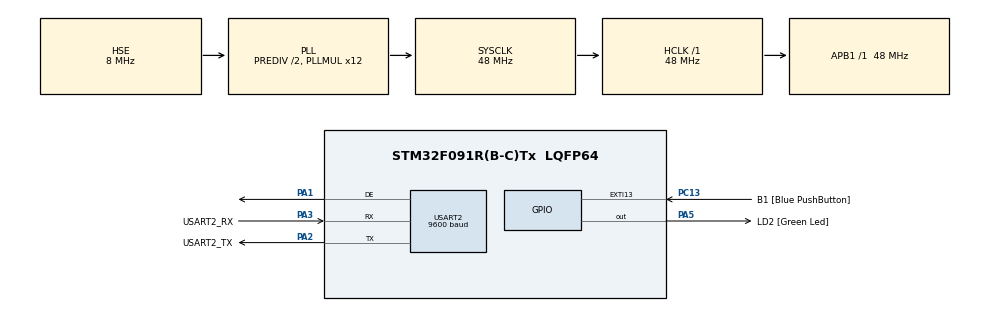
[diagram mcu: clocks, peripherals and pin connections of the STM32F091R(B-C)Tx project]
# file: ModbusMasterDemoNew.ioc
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Dma.Request0=USART2_TX
Dma.USART2_TX.0.Direction=DMA_MEMORY_TO_PERIPH
Dma.USART2_TX.0.Instance=DMA1_Channel4
Dma.USART2_TX.0.MemDataAlignment=DMA_MDATAALIGN_BYTE
Dma.USART2_TX.0.MemInc=DMA_MINC_ENABLE
Dma.USART2_TX.0.Mode=DMA_NORMAL
Dma.USART2_TX.0.PeriphDataAlignment=DMA_PDATAALIGN_BYTE
Dma.USART2_TX.0.PeriphInc=DMA_PINC_DISABLE
Dma.USART2_TX.0.Priority=DMA_PRIORITY_LOW
FREERTOS.INCLUDE_vTaskDelayUntil=1
FREERTOS.Tasks01=defaultTask,0,128,StartDefaultTask,Default
FREERTOS.configTOTAL_HEAP_SIZE=10340
Mcu.Family=STM32F0
Mcu.Name=STM32F091R(B-C)Tx
Mcu.Package=LQFP64
NVIC.DMA1_Ch4_7_DMA2_Ch3_5_IRQn=true\:3\:0\:false\:false\:true\:true
NVIC.TIM6_DAC_IRQn=true\:3\:0\:false\:false\:true\:true
NVIC.USART2_IRQn=true\:3\:0\:false\:false\:true\:true
PA1.Mode=Hardware Flow Control (RS485)
PA1.Signal=USART2_DE
PA13.GPIO_Label=TMS
PA13.Mode=Serial_Wire
PA13.Signal=SYS_SWDIO
PA14.GPIO_Label=TCK
PA14.Mode=Serial_Wire
PA14.Signal=SYS_SWCLK
PA2.GPIO_Label=USART2_TX
PA2.GPIO_Mode=GPIO_MODE_AF_PP
PA2.GPIO_PuPd=GPIO_NOPULL
PA2.GPIO_Speed=GPIO_SPEED_FREQ_LOW
PA2.Mode=Asynchronous
PA2.Signal=USART2_TX
PA3.GPIO_Label=USART2_RX
PA3.GPIO_Mode=GPIO_MODE_AF_PP
PA3.GPIO_PuPd=GPIO_NOPULL
PA3.GPIO_Speed=GPIO_SPEED_FREQ_LOW
PA3.Mode=Asynchronous
PA3.Signal=USART2_RX
PA5.GPIO_Label=LD2 [Green Led]
PA5.GPIO_Mode=GPIO_MODE_OUTPUT_PP
PA5.GPIO_PuPd=GPIO_NOPULL
PA5.GPIO_Speed=GPIO_SPEED_FREQ_LOW
PA5.Signal=GPIO_Output
PC13.GPIO_Label=B1 [Blue PushButton]
PC13.GPIO_ModeDefaultEXTI=GPIO_MODE_EVT_RISING
PC13.Signal=GPXTI13
PC14OSC32_IN.Signal=RCC_OSC32_IN
PC15OSC32_OUT.Signal=RCC_OSC32_OUT
PF0-OSC_IN.Mode=HSE-External-Oscillator
PF0-OSC_IN.Signal=RCC_OSC_IN
PF1-OSC_OUT.Mode=HSE-External-Oscillator
PF1-OSC_OUT.Signal=RCC_OSC_OUT
ProjectManager.HeapSize=0x200
ProjectManager.StackSize=0x400
ProjectManager.TargetToolchain=SW4STM32
RCC.AHBFreq_Value=48000000
RCC.APB1Freq_Value=48000000
RCC.APB1TimFreq_Value=48000000
RCC.FLatency-AdvancedSettings=FLASH_LATENCY_1
RCC.HCLKFreq_Value=48000000
RCC.HSIState=RCC_HSI_ON
RCC.PLLDivider=RCC_PREDIV_DIV2
RCC.PLLMUL=RCC_PLL_MUL12
RCC.PLLSourceVirtual=RCC_PLLSOURCE_HSE
RCC.PREFETCH_ENABLE-AdvancedSettings=1
RCC.SYSCLKFreq_VALUE=48000000
RCC.SYSCLKSource=RCC_SYSCLKSOURCE_PLLCLK
USART2.BaudRate=9600
USART2.Parity=PARITY_NONE
USART2.WordLength=UART_WORDLENGTH_8B
VP_FREERTOS_VS_ENABLE.Mode=Enabled
VP_RTC_VS_RTC_Activate.Mode=RTC_Enabled
VP_TIM6_VS_ClockSourceINT.Mode=Enable_Timer
board=NUCLEO-F091RC

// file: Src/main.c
/**
  ******************************************************************************
  * File Name          : main.c
  * Description        : Main program body
  ******************************************************************************
  *
  * Copyright (c) 2017 STMicroelectronics International N.V.
  * All rights reserved.
  *
  * Redistribution and use in source and binary forms, with or without
  * modification, are permitted, provided that the following conditions are met:
  *
  * 1. Redistribution of source code must retain the above copyright notice,
  *    this list of conditions and the following disclaimer.
  * 2. Redistributions in binary form must reproduce the above copyright notice,
  *    this list of conditions and the following disclaimer in the documentation
  *    and/or other materials provided with the distribution.
  * 3. Neither the name of STMicroelectronics nor the names of other
  *    contributors to this software may be used to endorse or promote products
  *    derived from this software without specific written permission.
  * 4. This software, including modifications and/or derivative works of this
  *    software, must execute solely and exclusively on microcontroller or
  *    microprocessor devices manufactured by or for STMicroelectronics.
  * 5. Redistribution and use of this software other than as permitted under
  *    this license is void and will automatically terminate your rights under
  *    this license.
  *
  * THIS SOFTWARE IS PROVIDED BY STMICROELECTRONICS AND CONTRIBUTORS "AS IS"
  * AND ANY EXPRESS, IMPLIED OR STATUTORY WARRANTIES, INCLUDING, BUT NOT
  * LIMITED TO, THE IMPLIED WARRANTIES OF MERCHANTABILITY, FITNESS FOR A
  * PARTICULAR PURPOSE AND NON-INFRINGEMENT OF THIRD PARTY INTELLECTUAL PROPERTY
  * RIGHTS ARE DISCLAIMED TO THE FULLEST EXTENT PERMITTED BY LAW. IN NO EVENT
  * SHALL STMICROELECTRONICS OR CONTRIBUTORS BE LIABLE FOR ANY DIRECT, INDIRECT,
  * INCIDENTAL, SPECIAL, EXEMPLARY, OR CONSEQUENTIAL DAMAGES (INCLUDING, BUT NOT
  * LIMITED TO, PROCUREMENT OF SUBSTITUTE GOODS OR SERVICES; LOSS OF USE, DATA,
  * OR PROFITS; OR BUSINESS INTERRUPTION) HOWEVER CAUSED AND ON ANY THEORY OF
  * LIABILITY, WHETHER IN CONTRACT, STRICT LIABILITY, OR TORT (INCLUDING
  * NEGLIGENCE OR OTHERWISE) ARISING IN ANY WAY OUT OF THE USE OF THIS SOFTWARE,
  * EVEN IF ADVISED OF THE POSSIBILITY OF SUCH DAMAGE.
  *
  ******************************************************************************
  */
#include "main.h"
#include "stm32f0xx_hal.h"
#include "cmsis_os.h"
#include "dma.h"
#include "rtc.h"
#include "tim.h"
#include "usart.h"
#include "gpio.h"

/* USER CODE BEGIN Includes */

#include "u_modBusMaster.h"

/* USER CODE END Includes */

/* USER CODE BEGIN PV */
/* Private variables ---------------------------------------------------------*/

#define LD2_GPIO	GPIOA
#define LD2_PIN		GPIO_PIN_5

 mbmUart_t mbmu;
 osThreadId test_id;

/* USER CODE END PV */

void SystemClock_Config(void);
void Error_Handler(void);
void MX_FREERTOS_Init(void);

/* USER CODE BEGIN PFP */
/* Private function prototypes -----------------------------------------------*/

void task_test(void const* argument);

/* USER CODE END PFP */

int main(void)
{

  /* MCU Configuration----------------------------------------------------------*/

  /* Reset of all peripherals, Initializes the Flash interface and the Systick. */
  HAL_Init();

  /* Configure the system clock */
  SystemClock_Config();

  /* Initialize all configured peripherals */
  MX_GPIO_Init();
  MX_DMA_Init();
  MX_USART2_UART_Init();
  MX_RTC_Init();
  MX_TIM6_Init();

  /* USER CODE BEGIN 2 */

  // response timeout in ms
	mbmu.toutQ.timeout_ms = 2000;

	// set uart handle
	mbmu.mbg.handle = &huart2;
	mbmu.mbg.rxQ.toutTim = &htim6;
	mbmu.mbg.rxQ.T35 = 3.5f;

	mbm_Init(&mbmu, 1);

	// create test task
	osThreadDef(testTask, task_test, osPriorityNormal, 1, 128);
	test_id = osThreadCreate(osThread(testTask), 0);
	assert_param(test_id);

  /* USER CODE END 2 */

  /* Call init function for freertos objects (in freertos.c) */
  MX_FREERTOS_Init();

  /* Start scheduler */
  osKernelStart();

  /* We should never get here as control is now taken by the scheduler */

  /* Infinite loop */
  while (1)
  {

  }

}

/** System Clock Configuration
*/
void SystemClock_Config(void)
{

  RCC_OscInitTypeDef RCC_OscInitStruct;
  RCC_ClkInitTypeDef RCC_ClkInitStruct;
  RCC_PeriphCLKInitTypeDef PeriphClkInit;

    /**Initializes the CPU, AHB and APB busses clocks
    */
  RCC_OscInitStruct.OscillatorType = RCC_OSCILLATORTYPE_LSI|RCC_OSCILLATORTYPE_HSE;
  RCC_OscInitStruct.HSEState = RCC_HSE_ON;
  RCC_OscInitStruct.HSIState = RCC_HSI_ON;
  RCC_OscInitStruct.LSIState = RCC_LSI_ON;
  RCC_OscInitStruct.PLL.PLLState = RCC_PLL_ON;
  RCC_OscInitStruct.PLL.PLLSource = RCC_PLLSOURCE_HSE;
  RCC_OscInitStruct.PLL.PLLMUL = RCC_PLL_MUL12;
  RCC_OscInitStruct.PLL.PREDIV = RCC_PREDIV_DIV2;
  if (HAL_RCC_OscConfig(&RCC_OscInitStruct) != HAL_OK)
  {
    Error_Handler();
  }

    /**Initializes the CPU, AHB and APB busses clocks
    */
  RCC_ClkInitStruct.ClockType = RCC_CLOCKTYPE_HCLK|RCC_CLOCKTYPE_SYSCLK
                              |RCC_CLOCKTYPE_PCLK1;
  RCC_ClkInitStruct.SYSCLKSource = RCC_SYSCLKSOURCE_PLLCLK;
  RCC_ClkInitStruct.AHBCLKDivider = RCC_SYSCLK_DIV1;
  RCC_ClkInitStruct.APB1CLKDivider = RCC_HCLK_DIV1;

  if (HAL_RCC_ClockConfig(&RCC_ClkInitStruct, FLASH_LATENCY_1) != HAL_OK)
  {
    Error_Handler();
  }

  PeriphClkInit.PeriphClockSelection = RCC_PERIPHCLK_USART2|RCC_PERIPHCLK_RTC;
  PeriphClkInit.Usart2ClockSelection = RCC_USART2CLKSOURCE_PCLK1;
  PeriphClkInit.RTCClockSelection = RCC_RTCCLKSOURCE_LSI;
  if (HAL_RCCEx_PeriphCLKConfig(&PeriphClkInit) != HAL_OK)
  {
    Error_Handler();
  }

    /**Configure the Systick interrupt time
    */
  HAL_SYSTICK_Config(HAL_RCC_GetHCLKFreq()/1000);

    /**Configure the Systick
    */
  HAL_SYSTICK_CLKSourceConfig(SYSTICK_CLKSOURCE_HCLK);

  /* SysTick_IRQn interrupt configuration */
  HAL_NVIC_SetPriority(SysTick_IRQn, 3, 0);
}

/* USER CODE BEGIN 4 */

void task_test(void const* argument)
{
	while (1)
	{
		osDelay(3000);

		mbm_RequestReadHoldingRegs(&mbmu, 5, 0, 1);
	}
}

/*
 * @brief	test override
 */
void mbm_CheckReadHoldingRegisters(const mbmUart_t* const mbm, const mbgFrame_t* const mf)
{
	HAL_GPIO_TogglePin(LD2_GPIO, LD2_PIN);
}

/* USER CODE END 4 */

void Error_Handler(void)
{
  while(1)
  {
  }
}

/************************ (C) COPYRIGHT STMicroelectronics *****END OF FILE****/
